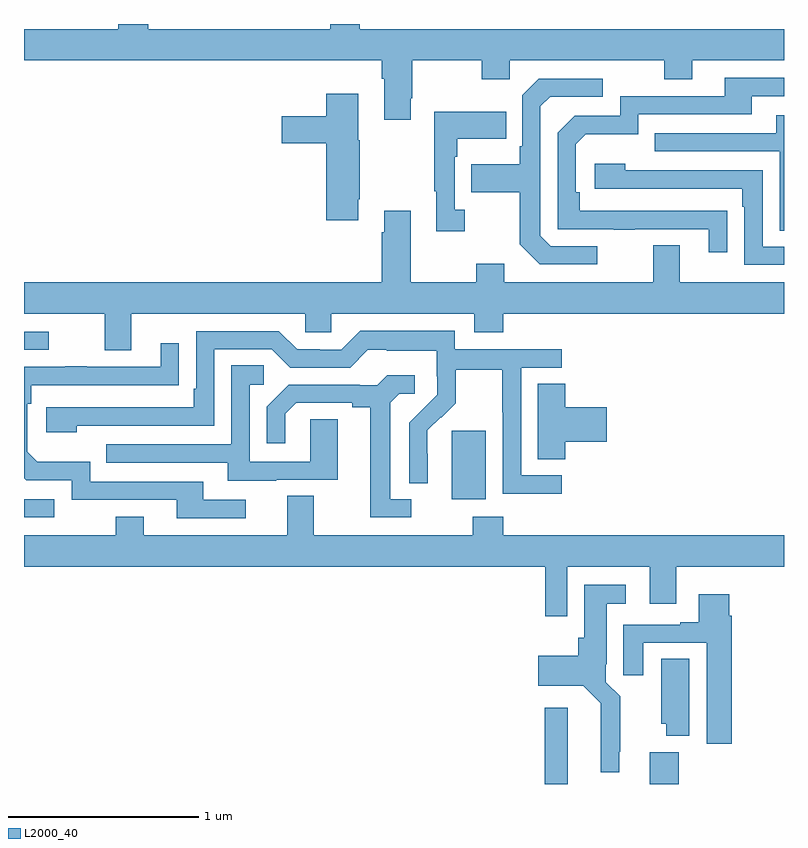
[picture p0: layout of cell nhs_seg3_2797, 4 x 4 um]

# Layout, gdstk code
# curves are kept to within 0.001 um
import gdstk
lib = gdstk.Library(unit=1e-6, precision=1e-09)
def R(c, l, rs):  # rectangles x0, y0, x1, y1
    for r in rs: c.add(gdstk.rectangle(r[:2], r[2:], *l))
def P(c, l, *ps):  # polygons
    for p in ps: c.add(gdstk.Polygon(p, *l))
L2000_40 = (2000, 40)

nhs_seg3_2797 = lib.new_cell('nhs_seg3_2797')
R(nhs_seg3_2797, L2000_40, [(257.741,738.4,257.863,738.802), (258.293,738.4,258.446,738.568), (255,739.803,255.16,739.899), (257.252,739.898,257.431,740.259), (255,740.685,255.13,740.781)])
P(nhs_seg3_2797, L2000_40, [(257.035,742.009),(257.043,742.009),(257.043,742.208),(257.41,742.208),(257.41,742.109),(257.556,742.109),(257.556,742.208),(258.37,742.208),(258.37,742.109),(258.517,742.109),(258.517,742.208),(259,742.208),(259,742.372),(256.766,742.372),(256.766,742.4),(256.613,742.4),(256.613,742.372),(255.653,742.372),(255.653,742.4),(255.497,742.4),(255.497,742.372),(255,742.372),(255,742.208),(256.883,742.208),(256.883,742.112),(256.895,742.112),(256.895,741.897),(257.035,741.897)],
  [(258.701,741.416),(257.924,741.417),(257.924,741.514),(257.904,741.514),(257.904,741.768),(257.957,741.821),(258.234,741.821),(258.234,741.924),(258.829,741.924),(258.829,742.02),(259,742.02),(259,742.116),(258.689,742.116),(258.689,742.02),(258.138,742.02),(258.138,741.918),(257.898,741.918),(257.808,741.828),(257.808,741.321),(258.103,741.321),(258.103,741.316),(258.215,741.316),(258.215,741.321),(258.605,741.321),(258.605,741.198),(258.701,741.198)],
  [(258.016,741.231),(257.772,741.231),(257.718,741.285),(257.718,741.966),(257.769,742.017),(258.046,742.017),(258.046,742.113),(257.709,742.113),(257.622,742.026),(257.622,741.757),(257.61,741.757),(257.61,741.661),(257.353,741.661),(257.353,741.514),(257.61,741.514),(257.61,741.241),(257.715,741.135),(258.016,741.135)],
  [(256.759,741.478),(256.767,741.478),(256.767,741.789),(256.759,741.789),(256.759,742.033),(256.592,742.033),(256.592,741.915),(256.356,741.915),(256.356,741.773),(256.592,741.773),(256.592,741.366),(256.759,741.366)],
  [(257.32,741.422),(257.268,741.422),(257.268,741.701),(257.281,741.701),(257.281,741.797),(257.537,741.797),(257.537,741.937),(257.16,741.937),(257.16,741.521),(257.171,741.521),(257.171,741.309),(257.32,741.309)],
  [(259,741.919),(258.959,741.919),(258.959,741.825),(258.319,741.825),(258.319,741.729),(258.978,741.729),(258.978,741.313),(259,741.313)],
  [(259,741.228),(258.888,741.228),(258.888,741.63),(258.164,741.63),(258.164,741.664),(258.003,741.664),(258.003,741.534),(258.779,741.534),(258.779,741.437),(258.792,741.437),(258.792,741.132),(259,741.132)],
  [(255.565,740.876),(256.479,740.876),(256.479,740.778),(256.617,740.778),(256.617,740.876),(257.369,740.876),(257.369,740.777),(257.522,740.777),(257.522,740.876),(259,740.876),(259,741.04),(258.451,741.04),(258.451,741.235),(258.311,741.235),(258.311,741.04),(257.527,741.04),(257.527,741.139),(257.38,741.139),(257.38,741.04),(257.035,741.04),(257.035,741.418),(256.895,741.418),(256.895,741.305),(256.883,741.305),(256.883,741.04),(255,741.04),(255,740.876),(255.425,740.876),(255.425,740.682),(255.565,740.682)],
  [(257.83,740.025),(257.616,740.025),(257.616,740.592),(257.83,740.592),(257.83,740.688),(257.268,740.688),(257.268,740.785),(256.771,740.785),(256.671,740.685),(256.556,740.685),(256.556,740.688),(256.437,740.688),(256.341,740.784),(255.906,740.784),(255.906,740.479),(255.893,740.479),(255.893,740.382),(255.117,740.382),(255.117,740.252),(255.278,740.252),(255.278,740.286),(256.002,740.286),(256.002,740.688),(256.305,740.688),(256.401,740.592),(256.716,740.592),(256.809,740.685),(256.909,740.685),(256.909,740.681),(257.172,740.681),(257.172,740.547),(257.174,740.547),(257.174,740.45),(257.028,740.302),(257.028,739.984),(257.124,739.984),(257.123,740.261),(257.193,740.331),(257.196,740.328),(257.273,740.405),(257.273,740.58),(257.517,740.58),(257.517,740.356),(257.52,740.356),(257.52,739.927),(257.83,739.927)],
  [(256.168,739.896),(255.943,739.896),(255.943,739.992),(255.348,739.992),(255.348,740.095),(255.071,740.095),(255.018,740.148),(255.018,740.402),(255.038,740.402),(255.038,740.499),(255.815,740.5),(255.815,740.719),(255.719,740.719),(255.719,740.595),(255.329,740.595),(255.329,740.6),(255.217,740.6),(255.217,740.595),(255,740.595),(255,740.01),(255.012,739.998),(255.252,739.998),(255.252,739.896),(255.803,739.896),(255.803,739.8),(256.168,739.8)],
  [(256.327,740.001),(256.651,740.001),(256.651,740.321),(256.506,740.321),(256.506,740.097),(256.188,740.097),(256.188,740.502),(256.261,740.502),(256.261,740.603),(256.092,740.603),(256.092,740.187),(255.433,740.187),(255.433,740.091),(256.073,740.091),(256.073,739.997),(256.327,739.997)],
  [(257.038,739.899),(256.927,739.899),(256.927,740.407),(256.974,740.454),(257.056,740.454),(257.056,740.551),(256.912,740.551),(256.86,740.499),(256.766,740.499),(256.766,740.502),(256.394,740.502),(256.278,740.386),(256.278,740.193),(256.375,740.193),(256.375,740.349),(256.432,740.406),(256.727,740.406),(256.727,740.384),(256.823,740.384),(256.823,739.803),(257.038,739.803)],
  [(257.849,740.201),(258.067,740.201),(258.067,740.384),(257.849,740.384),(257.849,740.507),(257.705,740.507),(257.705,740.11),(257.849,740.11)],
  [(257.859,739.544),(258.293,739.544),(258.293,739.35),(258.433,739.35),(258.433,739.544),(259,739.544),(259,739.708),(257.522,739.708),(257.522,739.807),(257.362,739.807),(257.362,739.708),(256.525,739.708),(256.525,739.916),(256.385,739.916),(256.385,739.708),(255.631,739.708),(255.631,739.807),(255.484,739.807),(255.484,739.708),(255,739.708),(255,739.544),(257.743,739.544),(257.743,739.284),(257.859,739.284)],
  [(258.133,738.571),(258.137,738.571),(258.137,738.862),(258.063,738.936),(258.063,739.03),(258.067,739.03),(258.067,739.349),(258.166,739.349),(258.166,739.45),(257.948,739.45),(257.948,739.17),(257.918,739.17),(257.918,739.075),(257.706,739.075),(257.706,738.917),(257.943,738.917),(258.036,738.824),(258.035,738.461),(258.133,738.461)],
  [(258.725,739.286),(258.712,739.286),(258.712,739.399),(258.551,739.399),(258.551,739.252),(258.455,739.252),(258.455,739.239),(258.155,739.239),(258.155,738.972),(258.259,738.972),(258.259,739.143),(258.593,739.143),(258.593,738.612),(258.725,738.612)],
  [(258.502,739.058),(258.353,739.058),(258.353,738.717),(258.38,738.717),(258.38,738.653),(258.502,738.653)])

lib.write_gds('nhs_seg3_2797.gds')
